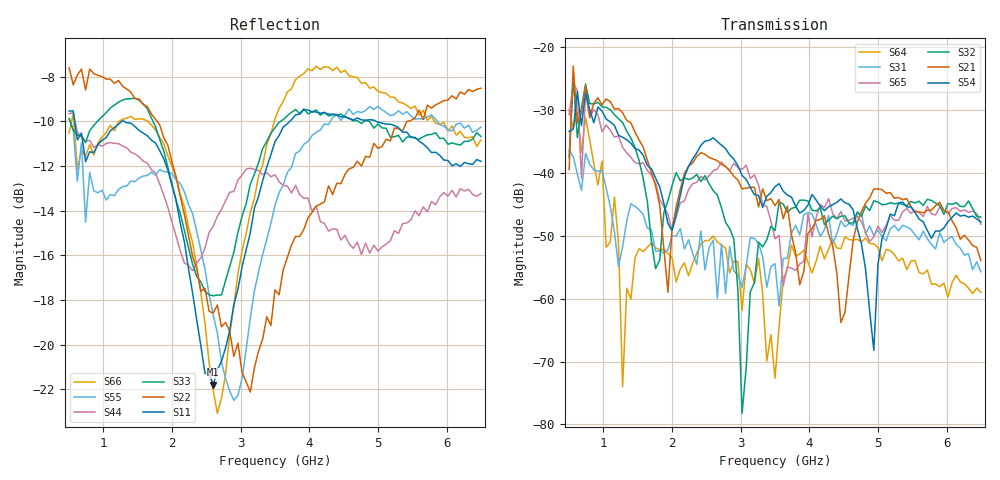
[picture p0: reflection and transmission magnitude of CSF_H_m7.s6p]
!Keysight Technologies,M9804A,MY58100912,A.14.10.03
!Date: Thursday, April 27, 2023 10:28:33
!Correction: S11(C  6-Port  )
!S12(C  6-Port  )
!S13(C  6-Port  )
!S14(C  6-Port  )
!S15(C  6-Port  )
!S16(C  6-Port  )
!S21(C  6-Port  )
!S22(C  6-Port  )
!S23(C  6-Port  )
!S24(C  6-Port  )
!S25(C  6-Port  )
!S26(C  6-Port  )
!S31(C  6-Port  )
!S32(C  6-Port  )
!S33(C  6-Port  )
!S34(C  6-Port  )
!S35(C  6-Port  )
!S36(C  6-Port  )
!S41(C  6-Port  )
!S42(C  6-Port  )
!S43(C  6-Port  )
!S44(C  6-Port  )
!S45(C  6-Port  )
!S46(C  6-Port  )
!S51(C  6-Port  )
!S52(C  6-Port  )
!S53(C  6-Port  )
!S54(C  6-Port  )
!S55(C  6-Port  )
!S56(C  6-Port  )
!S61(C  6-Port  )
!S62(C  6-Port  )
!S63(C  6-Port  )
!S64(C  6-Port  )
!S65(C  6-Port  )
!S66(C  6-Port  )
!S6P File: Measurement: :
# Hz S  RI  R 50
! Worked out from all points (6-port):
!   101 points, 500 MHz to 6.5 GHz, reference 50 ohm
!   strongest paths, dB at 500 MHz, 2 GHz, 3.5 GHz, 5 GHz, 6.5 GHz:
!     S54: -33.5, -49.2, -42.2, -54.6, -47.8
!     S21: -39.5, -48.9, -45.2, -42.6, -54.0
!     S32: -37.6, -42.1, -49.2, -44.7, -47.0
!     S65: -30.7, -49.2, -50.5, -48.5, -48.2
!     S31: -36.4, -50.0, -54.5, -49.1, -55.7
!     S64: -30.0, -53.5, -72.7, -51.9, -59.0
!   lowest |S11| = -21.8 dB at 2.6 GHz (marker M1), VSWR 1.18, Z = 42.7 + j1.91 ohm
!   |S11| at or under -10 dB: 581.4 MHz to 1.269 GHz (688 MHz wide, 74.3 % of centre); 1.298 GHz to 3.718 GHz (2.421 GHz wide, 96.5 % of centre); 4.972 GHz to end of sweep
